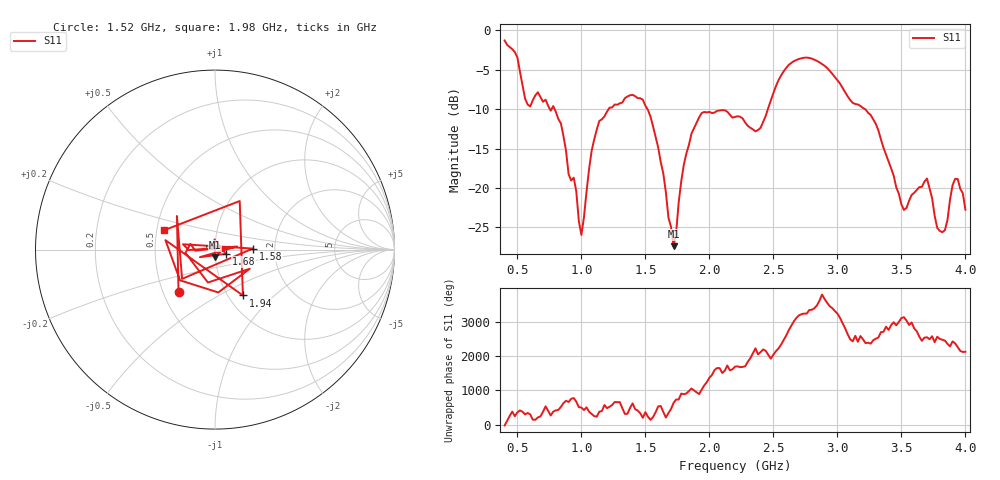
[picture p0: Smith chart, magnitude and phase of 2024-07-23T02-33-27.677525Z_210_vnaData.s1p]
!Created with skrf (http://scikit-rf.org).
# Hz S RI R 50.0
!freq ReS11 ImS11
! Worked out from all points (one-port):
!   181 points, 400 MHz to 4 GHz, reference 50 ohm
!   lowest |S11| = -27.4 dB at 1.72 GHz (marker M1), VSWR 1.09, Z = 49.9 - j4.27 ohm
!   |S11| at or under -10 dB: 791 MHz to 1.212 GHz (421.2 MHz wide, 42.1 % of centre); 1.516 GHz to 2.457 GHz (940.2 MHz wide, 47.3 % of centre); 3.217 GHz to end of sweep (the widest 3 of 4)
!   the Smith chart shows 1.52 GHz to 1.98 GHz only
!   S11 on the Smith chart (normalised r, x): 1.52 GHz: 0.60, -0.32; 1.58 GHz: 1.54, +0.02; 1.68 GHz: 1.13, -0.05; 1.94 GHz: 1.17, -0.66; 1.98 GHz: 0.55, +0.13
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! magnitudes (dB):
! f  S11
! 400 MHz  -1.3
! 500 MHz  -3.4
! 580 MHz  -9.4
! 660 MHz  -7.9
! 860 MHz  -13.4
! 1 GHz  -26.0
! 1.12 GHz  -12.6
! 1.3 GHz  -9.3
! 1.52 GHz  -10.1
! 1.58 GHz  -13.5
! 1.68 GHz  -23.8
! 1.72 GHz  -27.4
! 1.76 GHz  -21.8
! 1.82 GHz  -15.6
! 1.94 GHz  -10.5
! 1.98 GHz  -10.4
! 2.2 GHz  -11.0
! 2.4 GHz  -12.4
! 2.66 GHz  -3.9
! 2.9 GHz  -4.5
! 3.1 GHz  -8.8
! 3.26 GHz  -10.7
! 3.5 GHz  -22.1
! 3.56 GHz  -21.6
! 3.7 GHz  -18.8
! 3.82 GHz  -25.6
! 3.94 GHz  -18.9
! 4 GHz  -22.8
